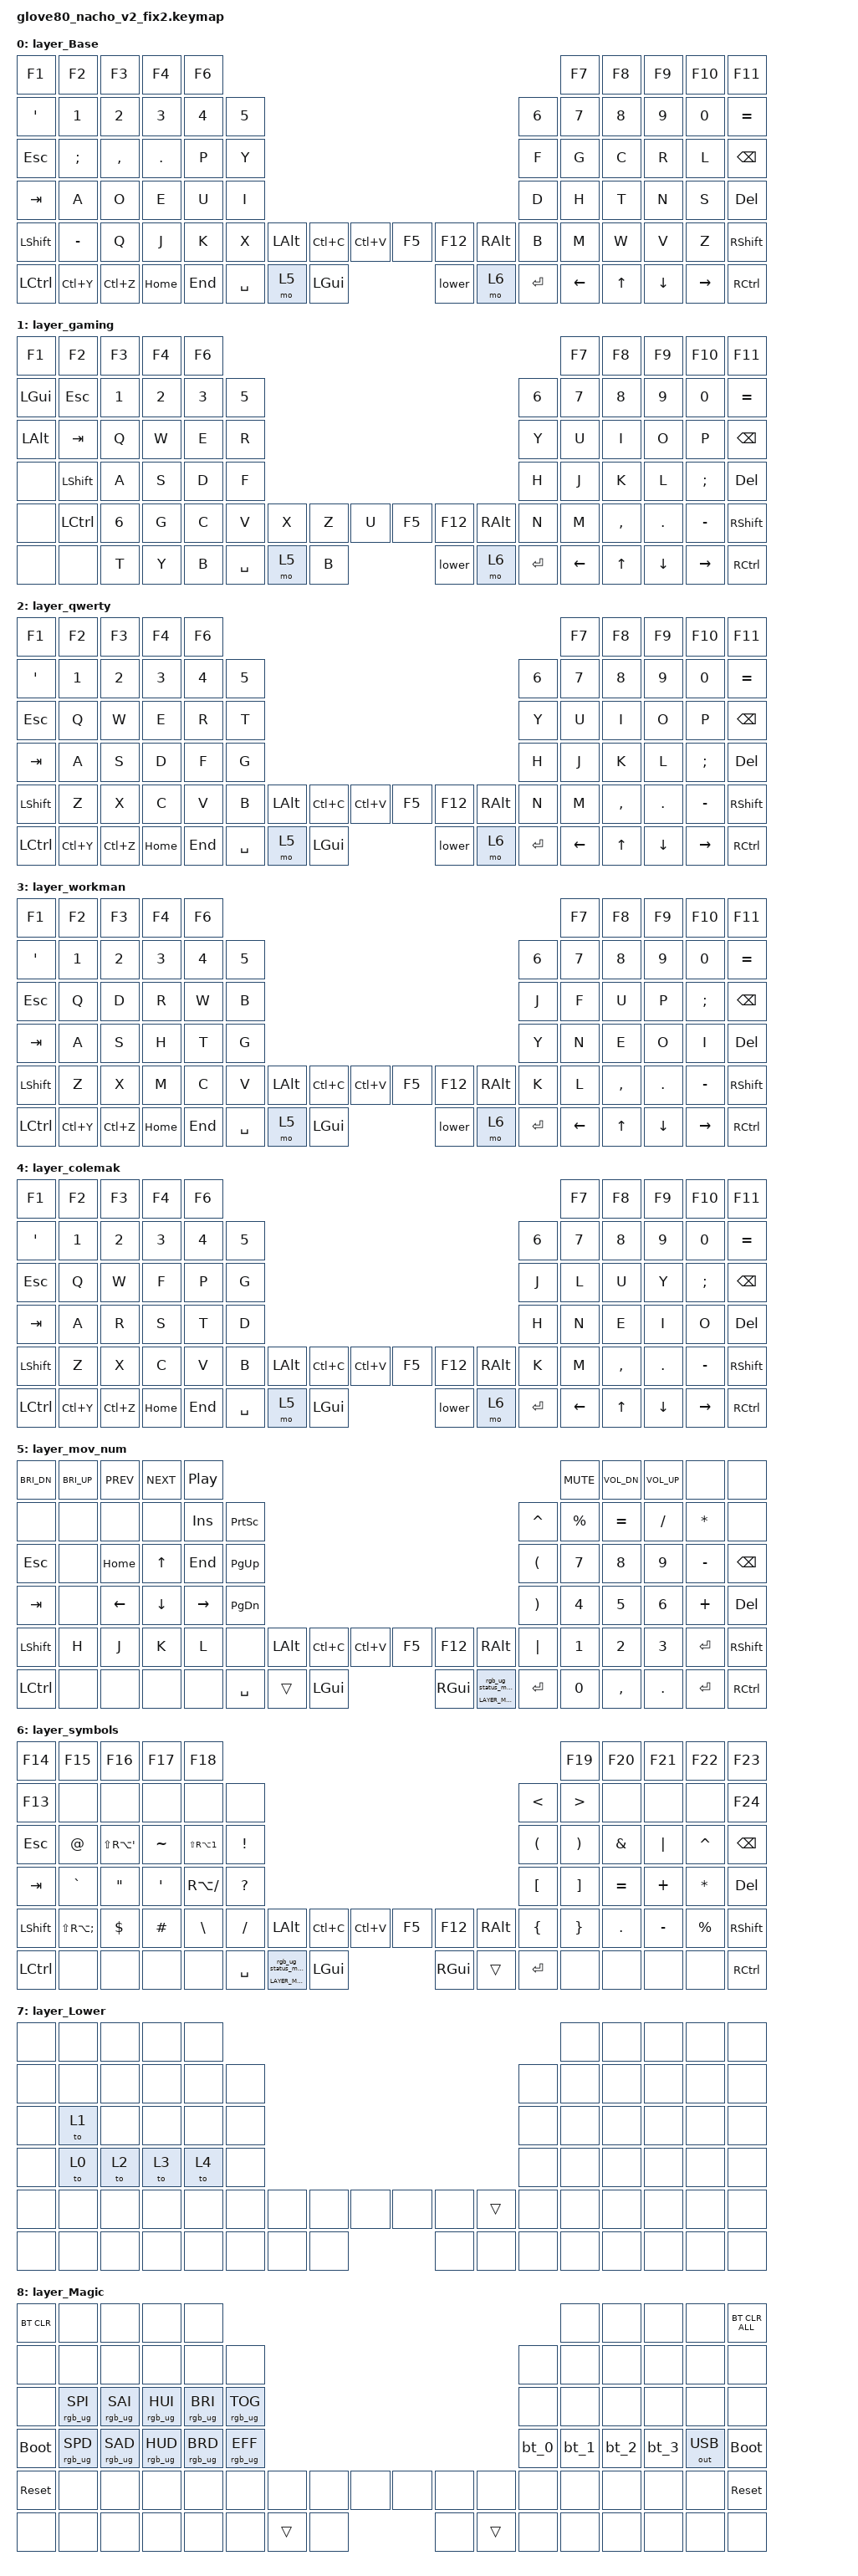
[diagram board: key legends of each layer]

/*
 * Copyright (c) 2020 The ZMK Contributors
 * Copyright (c) 2023 Innaworks Development Limited, trading as MoErgo
 *
 * SPDX-License-Identifier: MIT
 */


/* THIS FILE WAS GENERATED BY GLOVE80 LAYOUT EDITOR
 *
 * This file was generated automatically. You may or may not want to
 * edit it directly.
 */

#include <behaviors.dtsi>
/* Include all behavior includes needed */
#include <dt-bindings/zmk/outputs.h>
#include <dt-bindings/zmk/keys.h>
#include <dt-bindings/zmk/bt.h>
#include <dt-bindings/zmk/rgb.h>

/* Automatically generated layer name #define */
#define LAYER_Base 0
#define LAYER_gaming 1
#define LAYER_qwerty 2
#define LAYER_workman 3
#define LAYER_colemak 4
#define LAYER_mov_num 5
#define LAYER_symbols 6
#define LAYER_Lower 7
#define LAYER_Magic 8

/* To deal with the situation where there is no Lower layer, to keep &lower happy */
#ifndef LAYER_Lower
#define LAYER_Lower 0
#endif

/* Custom Device-tree */



/* Glove80 system behavior & macros */
/ {
    behaviors {
        // For the "layer" key, it'd nice to be able to use it as either a shift or a toggle.
        // Configure it as a tap dance, so the first tap (or hold) is a &mo and the second tap is a &to
        lower: lower {
            compatible = "zmk,behavior-tap-dance";
            label = "LAYER_TAP_DANCE";
            #binding-cells = <0>;
            tapping-term-ms = <200>;
            bindings = <&mo LAYER_Lower>, <&to LAYER_Lower>;
        };
    };
};

/ {
    macros {
        rgb_ug_status_macro: rgb_ug_status_macro {
            label = "RGB_UG_STATUS";
            compatible = "zmk,behavior-macro";
            #binding-cells = <0>;
            bindings
                = <&rgb_ug RGB_STATUS>;
        };
    };
};


/ {
#ifdef BT_DISC_CMD
    behaviors {
        bt_0: bt_0 {
            compatible = "zmk,behavior-tap-dance";
            label = "BT_0";
            #binding-cells = <0>;
            tapping-term-ms = <200>;
            bindings = <&bt_select_0>, <&bt BT_DISC 0>;
        };
        bt_1: bt_1 {
            compatible = "zmk,behavior-tap-dance";
            label = "BT_1";
            #binding-cells = <0>;
            tapping-term-ms = <200>;
            bindings = <&bt_select_1>, <&bt BT_DISC 1>;
        };
        bt_2: bt_2 {
            compatible = "zmk,behavior-tap-dance";
            label = "BT_2";
            #binding-cells = <0>;
            tapping-term-ms = <200>;
            bindings = <&bt_select_2>, <&bt BT_DISC 2>;
        };
        bt_3: bt_3 {
            compatible = "zmk,behavior-tap-dance";
            label = "BT_3";
            #binding-cells = <0>;
            tapping-term-ms = <200>;
            bindings = <&bt_select_3>, <&bt BT_DISC 3>;
        };
    };
    macros {
        bt_select_0: bt_select_0 {
            label = "BT_SELECT_0";
            compatible = "zmk,behavior-macro";
            #binding-cells = <0>;
            bindings
                = <&out OUT_BLE>,
                  <&bt BT_SEL 0>;
        };
        bt_select_1: bt_select_1 {
            label = "BT_SELECT_1";
            compatible = "zmk,behavior-macro";
            #binding-cells = <0>;
            bindings
                = <&out OUT_BLE>,
                  <&bt BT_SEL 1>;
        };
        bt_select_2: bt_select_2 {
            label = "BT_SELECT_2";
            compatible = "zmk,behavior-macro";
            #binding-cells = <0>;
            bindings
                = <&out OUT_BLE>,
                  <&bt BT_SEL 2>;
        };
        bt_select_3: bt_select_3 {
            label = "BT_SELECT_3";
            compatible = "zmk,behavior-macro";
            #binding-cells = <0>;
            bindings
                = <&out OUT_BLE>,
                  <&bt BT_SEL 3>;
        };
    };
#else
    macros {
        bt_0: bt_0 {
            label = "BT_0";
            compatible = "zmk,behavior-macro";
            #binding-cells = <0>;
            bindings
                = <&out OUT_BLE>,
                  <&bt BT_SEL 0>;
        };
        bt_1: bt_1 {
            label = "BT_1";
            compatible = "zmk,behavior-macro";
            #binding-cells = <0>;
            bindings
                = <&out OUT_BLE>,
                  <&bt BT_SEL 1>;
        };
        bt_2: bt_2 {
            label = "BT_2";
            compatible = "zmk,behavior-macro";
            #binding-cells = <0>;
            bindings
                = <&out OUT_BLE>,
                  <&bt BT_SEL 2>;
        };
        bt_3: bt_3 {
            label = "BT_3";
            compatible = "zmk,behavior-macro";
            #binding-cells = <0>;
            bindings
                = <&out OUT_BLE>,
                  <&bt BT_SEL 3>;
        };
    };
#endif
};

/ {
    behaviors {
        magic: magic {
            compatible = "zmk,behavior-hold-tap";
            label = "MAGIC_HOLD_TAP";
            #binding-cells = <2>;
            flavor = "tap-preferred";
            tapping-term-ms = <200>;
            bindings = <&mo>, <&rgb_ug_status_macro>;
        };
    };
};

/* #define for key positions */
#define POS_LH_T1 52
#define POS_LH_T2 53
#define POS_LH_T3 54
#define POS_LH_T4 69
#define POS_LH_T5 70
#define POS_LH_T6 71
#define POS_LH_C1R2 15
#define POS_LH_C1R3 27
#define POS_LH_C1R4 39
#define POS_LH_C1R5 51
#define POS_LH_C2R1 4
#define POS_LH_C2R2 14
#define POS_LH_C2R3 26
#define POS_LH_C2R4 38
#define POS_LH_C2R5 50
#define POS_LH_C2R6 68
#define POS_LH_C3R1 3
#define POS_LH_C3R2 13
#define POS_LH_C3R3 25
#define POS_LH_C3R4 37
#define POS_LH_C3R5 49
#define POS_LH_C3R6 67
#define POS_LH_C4R1 2
#define POS_LH_C4R2 12
#define POS_LH_C4R3 24
#define POS_LH_C4R4 36
#define POS_LH_C4R5 48
#define POS_LH_C4R6 66
#define POS_LH_C5R1 1
#define POS_LH_C5R2 11
#define POS_LH_C5R3 23
#define POS_LH_C5R4 35
#define POS_LH_C5R5 47
#define POS_LH_C5R6 65
#define POS_LH_C6R1 0
#define POS_LH_C6R2 10
#define POS_LH_C6R3 22
#define POS_LH_C6R4 34
#define POS_LH_C6R5 46
#define POS_LH_C6R6 64
#define POS_RH_T1 57
#define POS_RH_T2 56
#define POS_RH_T3 55
#define POS_RH_T4 74
#define POS_RH_T5 73
#define POS_RH_T6 72
#define POS_RH_C1R2 16
#define POS_RH_C1R3 28
#define POS_RH_C1R4 40
#define POS_RH_C1R5 58
#define POS_RH_C2R1 5
#define POS_RH_C2R2 17
#define POS_RH_C2R3 29
#define POS_RH_C2R4 41
#define POS_RH_C2R5 59
#define POS_RH_C2R6 75
#define POS_RH_C3R1 6
#define POS_RH_C3R2 18
#define POS_RH_C3R3 30
#define POS_RH_C3R4 42
#define POS_RH_C3R5 60
#define POS_RH_C3R6 76
#define POS_RH_C4R1 7
#define POS_RH_C4R2 19
#define POS_RH_C4R3 31
#define POS_RH_C4R4 43
#define POS_RH_C4R5 61
#define POS_RH_C4R6 77
#define POS_RH_C5R1 8
#define POS_RH_C5R2 20
#define POS_RH_C5R3 32
#define POS_RH_C5R4 44
#define POS_RH_C5R5 62
#define POS_RH_C5R6 78
#define POS_RH_C6R1 9
#define POS_RH_C6R2 21
#define POS_RH_C6R3 33
#define POS_RH_C6R4 45
#define POS_RH_C6R5 63
#define POS_RH_C6R6 79

/* Custom Defined Behaviors */
/ {

};

/* Automatically generated macro definitions */
/ {
    macros {

    };
};

/* Automatically generated behavior definitions */
/ {
    behaviors {
    
    };
};

/* Automatically generated combos definitions */
/ {
    combos {
    compatible = "zmk,combos";
    };
};

/* Automatically generated keymap */
/ {
    keymap {
        compatible = "zmk,keymap";


        layer_Base {
            bindings = <
    &kp F1     &kp F2     &kp F3    &kp F4   &kp F6                                                                                &kp F7  &kp F8    &kp F9    &kp F10    &kp F11
   &kp SQT     &kp N1     &kp N2    &kp N3   &kp N4  &kp N5                                                              &kp N6    &kp N7  &kp N8    &kp N9     &kp N0  &kp EQUAL
   &kp ESC   &kp SEMI  &kp COMMA   &kp DOT    &kp P   &kp Y                                                               &kp F     &kp G   &kp C     &kp R      &kp L   &kp BSPC
   &kp TAB      &kp A      &kp O     &kp E    &kp U   &kp I                                                               &kp D     &kp H   &kp T     &kp N      &kp S    &kp DEL
 &kp LSHFT  &kp MINUS      &kp Q     &kp J    &kp K   &kp X   &kp LALT  &kp LC(C)  &kp LC(V)  &kp F5  &kp F12  &kp RALT   &kp B     &kp M   &kp W     &kp V      &kp Z  &kp RSHFT
 &kp LCTRL  &kp LC(Y)  &kp LC(Z)  &kp HOME  &kp END          &kp SPACE      &mo 5   &kp LGUI  &lower    &mo 6   &kp RET          &kp LEFT  &kp UP  &kp DOWN  &kp RIGHT  &kp RCTRL
            >;
        };

        layer_gaming {
            bindings = <
   &kp F1     &kp F2  &kp F3  &kp F4  &kp F6                                                                          &kp F7     &kp F8    &kp F9    &kp F10    &kp F11
 &kp LGUI    &kp ESC  &kp N1  &kp N2  &kp N3  &kp N5                                                        &kp N6    &kp N7     &kp N8    &kp N9     &kp N0  &kp EQUAL
 &kp LALT    &kp TAB   &kp Q   &kp W   &kp E   &kp R                                                         &kp Y     &kp U      &kp I     &kp O      &kp P   &kp BSPC
    &none  &kp LSHFT   &kp A   &kp S   &kp D   &kp F                                                         &kp H     &kp J      &kp K     &kp L   &kp SEMI    &kp DEL
    &none  &kp LCTRL  &kp N6   &kp G   &kp C   &kp V      &kp X   &kp Z   &kp U  &kp F5  &kp F12  &kp RALT   &kp N     &kp M  &kp COMMA   &kp DOT  &kp MINUS  &kp RSHFT
    &none      &none   &kp T   &kp Y   &kp B          &kp SPACE   &mo 5   &kp B  &lower    &mo 6   &kp RET          &kp LEFT     &kp UP  &kp DOWN  &kp RIGHT  &kp RCTRL
            >;
        };

        layer_qwerty {
            bindings = <
    &kp F1     &kp F2     &kp F3    &kp F4   &kp F6                                                                                &kp F7     &kp F8    &kp F9    &kp F10    &kp F11
   &kp SQT     &kp N1     &kp N2    &kp N3   &kp N4  &kp N5                                                              &kp N6    &kp N7     &kp N8    &kp N9     &kp N0  &kp EQUAL
   &kp ESC      &kp Q      &kp W     &kp E    &kp R   &kp T                                                               &kp Y     &kp U      &kp I     &kp O      &kp P   &kp BSPC
   &kp TAB      &kp A      &kp S     &kp D    &kp F   &kp G                                                               &kp H     &kp J      &kp K     &kp L   &kp SEMI    &kp DEL
 &kp LSHFT      &kp Z      &kp X     &kp C    &kp V   &kp B   &kp LALT  &kp LC(C)  &kp LC(V)  &kp F5  &kp F12  &kp RALT   &kp N     &kp M  &kp COMMA   &kp DOT  &kp MINUS  &kp RSHFT
 &kp LCTRL  &kp LC(Y)  &kp LC(Z)  &kp HOME  &kp END          &kp SPACE      &mo 5   &kp LGUI  &lower    &mo 6   &kp RET          &kp LEFT     &kp UP  &kp DOWN  &kp RIGHT  &kp RCTRL
            >;
        };

        layer_workman {
            bindings = <
    &kp F1     &kp F2     &kp F3    &kp F4   &kp F6                                                                                &kp F7     &kp F8    &kp F9    &kp F10    &kp F11
   &kp SQT     &kp N1     &kp N2    &kp N3   &kp N4  &kp N5                                                              &kp N6    &kp N7     &kp N8    &kp N9     &kp N0  &kp EQUAL
   &kp ESC      &kp Q      &kp D     &kp R    &kp W   &kp B                                                               &kp J     &kp F      &kp U     &kp P   &kp SEMI   &kp BSPC
   &kp TAB      &kp A      &kp S     &kp H    &kp T   &kp G                                                               &kp Y     &kp N      &kp E     &kp O      &kp I    &kp DEL
 &kp LSHFT      &kp Z      &kp X     &kp M    &kp C   &kp V   &kp LALT  &kp LC(C)  &kp LC(V)  &kp F5  &kp F12  &kp RALT   &kp K     &kp L  &kp COMMA   &kp DOT  &kp MINUS  &kp RSHFT
 &kp LCTRL  &kp LC(Y)  &kp LC(Z)  &kp HOME  &kp END          &kp SPACE      &mo 5   &kp LGUI  &lower    &mo 6   &kp RET          &kp LEFT     &kp UP  &kp DOWN  &kp RIGHT  &kp RCTRL
            >;
        };

        layer_colemak {
            bindings = <
    &kp F1     &kp F2     &kp F3    &kp F4   &kp F6                                                                                &kp F7     &kp F8    &kp F9    &kp F10    &kp F11
   &kp SQT     &kp N1     &kp N2    &kp N3   &kp N4  &kp N5                                                              &kp N6    &kp N7     &kp N8    &kp N9     &kp N0  &kp EQUAL
   &kp ESC      &kp Q      &kp W     &kp F    &kp P   &kp G                                                               &kp J     &kp L      &kp U     &kp Y   &kp SEMI   &kp BSPC
   &kp TAB      &kp A      &kp R     &kp S    &kp T   &kp D                                                               &kp H     &kp N      &kp E     &kp I      &kp O    &kp DEL
 &kp LSHFT      &kp Z      &kp X     &kp C    &kp V   &kp B   &kp LALT  &kp LC(C)  &kp LC(V)  &kp F5  &kp F12  &kp RALT   &kp K     &kp M  &kp COMMA   &kp DOT  &kp MINUS  &kp RSHFT
 &kp LCTRL  &kp LC(Y)  &kp LC(Z)  &kp HOME  &kp END          &kp SPACE      &mo 5   &kp LGUI  &lower    &mo 6   &kp RET          &kp LEFT     &kp UP  &kp DOWN  &kp RIGHT  &kp RCTRL
            >;
        };

        layer_mov_num {
            bindings = <
 &kp C_BRI_DN  &kp C_BRI_UP  &kp C_PREV  &kp C_NEXT   &kp C_PP                                                                                                   &kp C_MUTE  &kp C_VOL_DN  &kp C_VOL_UP      &none      &none
        &none         &none       &none       &none    &kp INS  &kp PSCRN                                                                             &kp CARET   &kp PRCNT     &kp EQUAL      &kp FSLH   &kp STAR      &none
      &kp ESC         &none    &kp HOME      &kp UP    &kp END  &kp PG_UP                                                                              &kp LPAR      &kp N7        &kp N8        &kp N9  &kp MINUS   &kp BSPC
      &kp TAB         &none    &kp LEFT    &kp DOWN  &kp RIGHT  &kp PG_DN                                                                              &kp RPAR      &kp N4        &kp N5        &kp N6   &kp PLUS    &kp DEL
    &kp LSHFT         &kp H       &kp J       &kp K      &kp L      &none   &kp LALT  &kp LC(C)  &kp LC(V)    &kp F5               &kp F12  &kp RALT   &kp PIPE      &kp N1        &kp N2        &kp N3    &kp RET  &kp RSHFT
    &kp LCTRL         &none       &none       &none      &none             &kp SPACE     &trans   &kp LGUI  &kp RGUI  &magic LAYER_Magic 0   &kp RET                 &kp N0     &kp COMMA       &kp DOT    &kp RET  &kp RCTRL
            >;
        };

        layer_symbols {
            bindings = <
   &kp F14           &kp F15          &kp F16    &kp F17         &kp F18                                                                                                 &kp F19    &kp F20    &kp F21    &kp F22    &kp F23
   &kp F13             &none            &none      &none           &none      &none                                                                             &kp LT    &kp GT      &none      &none      &none    &kp F24
   &kp ESC            &kp AT  &kp LS(RA(SQT))  &kp TILDE  &kp LS(RA(N1))   &kp EXCL                                                                           &kp LPAR  &kp RPAR   &kp AMPS   &kp PIPE  &kp CARET   &kp BSPC
   &kp TAB         &kp GRAVE          &kp DQT    &kp SQT    &kp RA(FSLH)  &kp QMARK                                                                           &kp LBKT  &kp RBKT  &kp EQUAL   &kp PLUS   &kp STAR    &kp DEL
 &kp LSHFT  &kp LS(RA(SEMI))         &kp DLLR   &kp HASH        &kp BSLH   &kp FSLH   &kp LALT             &kp LC(C)  &kp LC(V)    &kp F5  &kp F12  &kp RALT  &kp LBRC  &kp RBRC    &kp DOT  &kp MINUS  &kp PRCNT  &kp RSHFT
 &kp LCTRL             &none            &none      &none           &none             &kp SPACE  &magic LAYER_Magic 0   &kp LGUI  &kp RGUI   &trans   &kp RET               &none      &none      &none      &none  &kp RCTRL
            >;
        };

        layer_Lower {
            bindings = <
  &none   &none   &none   &none   &none                                                                   &none   &none   &none   &none   &none
  &none   &none   &none   &none   &none   &none                                                   &none   &none   &none   &none   &none   &none
  &none   &to 1   &none   &none   &none   &none                                                   &none   &none   &none   &none   &none   &none
  &none   &to 0   &to 2   &to 3   &to 4   &none                                                   &none   &none   &none   &none   &none   &none
  &none   &none   &none   &none   &none   &none   &none   &none   &none   &none   &none  &trans   &none   &none   &none   &none   &none   &none
  &none   &none   &none   &none   &none           &none   &none   &none   &none   &none   &none           &none   &none   &none   &none   &none
            >;
        };

        layer_Magic {
            bindings = <
  &bt BT_CLR            &none            &none            &none            &none                                                                            &none   &none   &none         &none  &bt BT_CLR_ALL
       &none            &none            &none            &none            &none            &none                                                   &none   &none   &none   &none         &none           &none
       &none  &rgb_ug RGB_SPI  &rgb_ug RGB_SAI  &rgb_ug RGB_HUI  &rgb_ug RGB_BRI  &rgb_ug RGB_TOG                                                   &none   &none   &none   &none         &none           &none
 &bootloader  &rgb_ug RGB_SPD  &rgb_ug RGB_SAD  &rgb_ug RGB_HUD  &rgb_ug RGB_BRD  &rgb_ug RGB_EFF                                                   &bt_0   &bt_1   &bt_2   &bt_3  &out OUT_USB     &bootloader
  &sys_reset            &none            &none            &none            &none            &none   &none   &none   &none   &none   &none   &none   &none   &none   &none   &none         &none      &sys_reset
       &none            &none            &none            &none            &none                    &none  &trans   &none   &none  &trans   &none           &none   &none   &none         &none           &none
            >;
        };

    };
};
